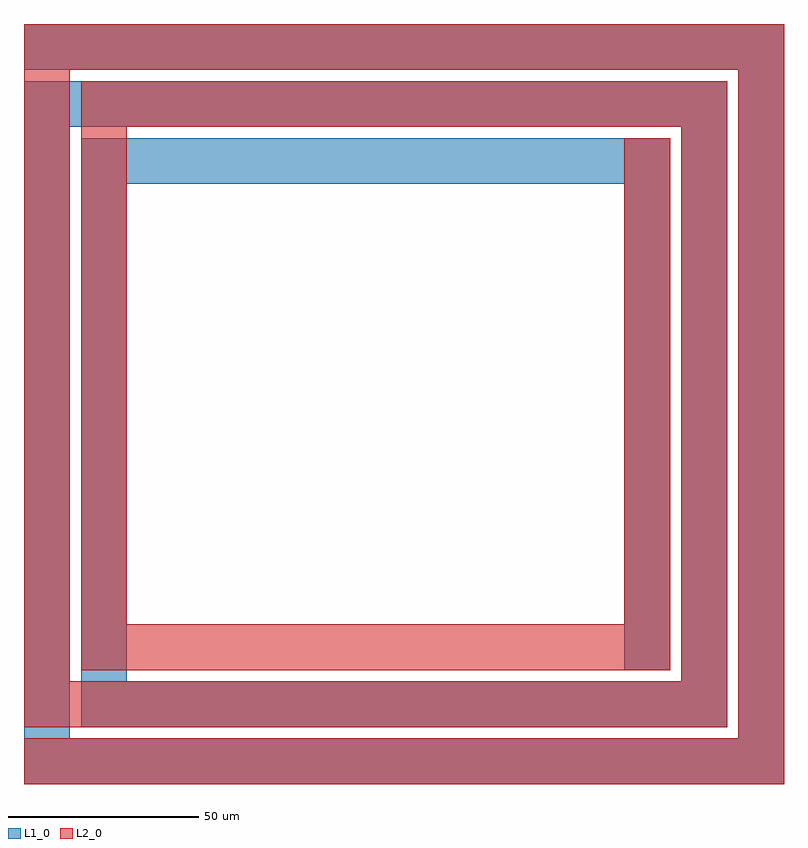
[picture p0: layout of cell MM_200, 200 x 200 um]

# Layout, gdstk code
import gdstk
lib = gdstk.Library(unit=1e-6, precision=1e-09)
def P(c, l, *ps):  # polygons
    for p in ps: c.add(gdstk.Polygon(p, *l))
L1_0 = (1, 0)
L2_0 = (2, 0)

mm_200 = lib.new_cell('MM_200')
P(mm_200, L1_0, [(100,288),(100,300),(300,300),(288,288)],
  [(300,100),(288,112),(288,288),(300,300)],
  [(100,100),(112,112),(288,112),(300,100)],
  [(100,100),(100,285),(112,273),(112,112)],
  [(112,273),(100,285),(285,285),(273,273)],
  [(285,115),(273,127),(273,273),(285,285)],
  [(115,115),(127,127),(273,127),(285,115)],
  [(115,115),(115,270),(127,258),(127,127)],
  [(127,258),(115,270),(270,270),(258,258)],
  [(258,130),(258,258),(270,270),(270,130)])
P(mm_200, L2_0, [(270,130),(258,142),(258,270),(270,270)],
  [(115,130),(127,142),(258,142),(270,130)],
  [(115,130),(115,285),(127,273),(127,142)],
  [(127,273),(115,285),(285,285),(273,273)],
  [(285,115),(273,127),(273,273),(285,285)],
  [(100,115),(112,127),(273,127),(285,115)],
  [(100,115),(100,300),(112,288),(112,127)],
  [(112,288),(100,300),(300,300),(288,288)],
  [(300,100),(288,112),(288,288),(300,300)],
  [(100,100),(100,112),(288,112),(300,100)])

lib.write_gds('MM_200.gds')
